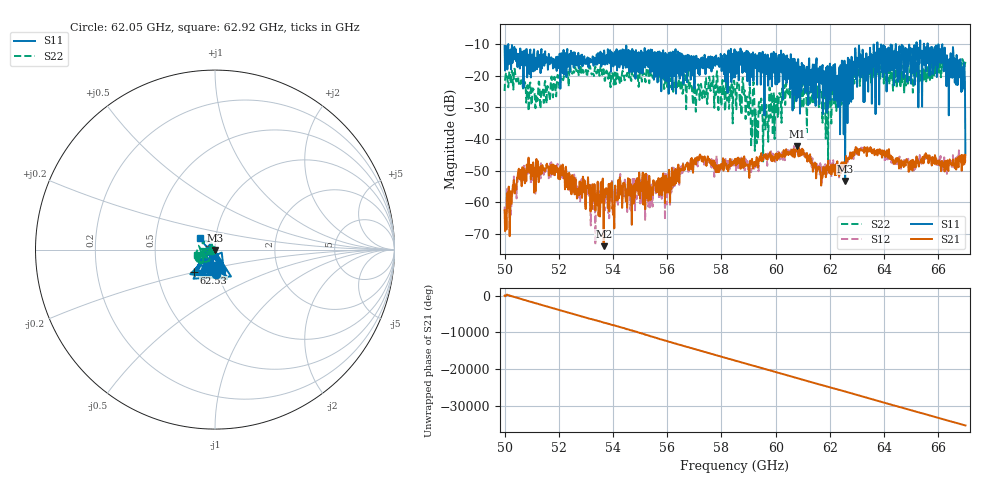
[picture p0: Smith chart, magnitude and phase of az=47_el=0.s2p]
!Created with skrf (http://scikit-rf.org).
# GHz S RI R 50.0
!freq ReS11 ImS11 ReS21 ImS21 ReS12 ImS12 ReS22 ImS22
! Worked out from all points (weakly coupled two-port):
!   1001 points, 50 GHz to 67 GHz, reference 50 ohm
!   highest |S21| = -42.34 dB at 60.8 GHz (marker M1); lowest = -74.0 dB at 53.66 GHz (marker M2)
!   lowest |S11| = -53.3 dB at 62.56 GHz (marker M3), VSWR 1.00, Z = 49.9 - j0.189 ohm
!   |S11| at or under -10 dB: 50.14 GHz to 63.75 GHz (13.61 GHz wide, 23.9 % of centre); 64.43 GHz to 65.19 GHz (761.6 MHz wide, 1.18 % of centre); 66.15 GHz to end of sweep (the widest 3 of 10)
!   |S22| runs from -48.0 to -14.1 dB; largest |S21 - S12| = 0.002
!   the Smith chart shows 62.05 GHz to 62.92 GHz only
!   S11 on the Smith chart (normalised r, x): 62.05 GHz: 0.98, -0.28; 62.53 GHz: 0.76, -0.20; 62.92 GHz: 0.84, +0.11
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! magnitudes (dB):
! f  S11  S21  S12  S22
! 50 GHz  -10.5  -62.6  -61.4  -24.8
! 50.53 GHz  -13.1  -49.4  -51.2  -22.4
! 50.9 GHz  -14.8  -50.1  -49.6  -28.7
! 52.84 GHz  -14.6  -54.5  -52.8  -19.5
! 53.26 GHz  -14.0  -56.5  -54.2  -19.3
! 53.66 GHz  -15.1  -74.0  -60.6  -17.9
! 55.68 GHz  -14.0  -52.4  -52.4  -21.7
! 57.23 GHz  -15.8  -45.2  -45.2  -23.5
! 58.5 GHz  -20.5  -46.3  -47.2  -23.9
! 58.86 GHz  -17.2  -48.7  -50.0  -24.6
! 59.32 GHz  -22.8  -46.2  -48.8  -33.6
! 60.8 GHz  -16.0  -42.3  -44.1  -25.2
! 61.34 GHz  -24.7  -48.1  -48.9  -25.8
! 61.88 GHz  -31.6  -49.1  -50.4  -23.4
! 62.05 GHz  -17.2  -51.3  -52.1  -35.1
! 62.53 GHz  -15.2  -50.0  -47.7  -19.2
! 62.56 GHz  -53.3  -47.4  -48.4  -19.8
! 62.92 GHz  -19.4  -43.4  -44.7  -19.6
! 64.18 GHz  -18.4  -43.2  -43.3  -18.9
! 66.08 GHz  -15.8  -47.2  -45.4  -15.6
! 66.9 GHz  -17.2  -46.2  -45.6  -14.8
! 67 GHz  -44.6  -45.1  -46.6  -15.5
